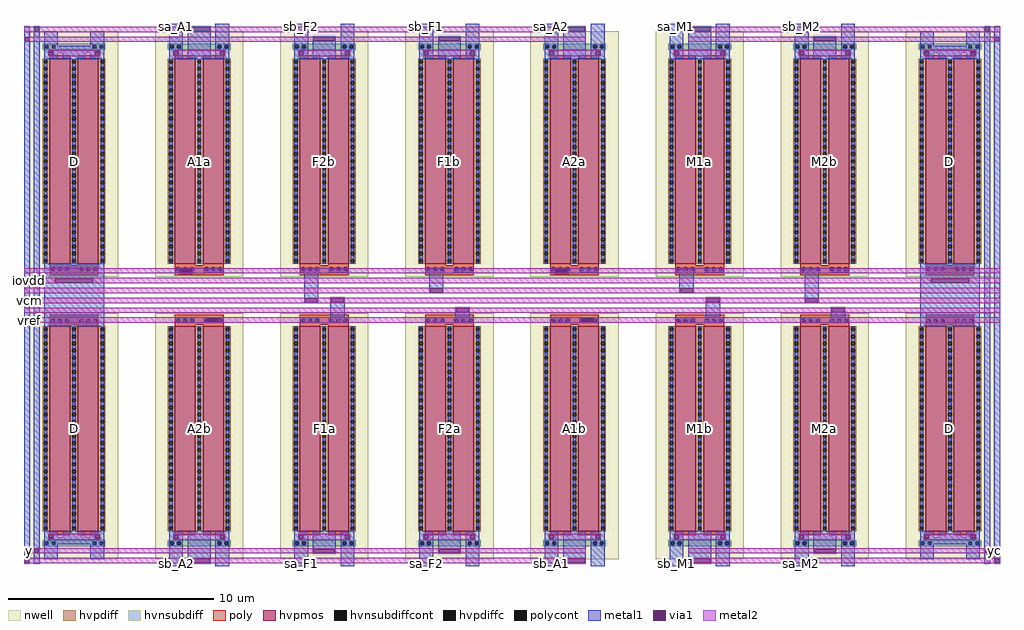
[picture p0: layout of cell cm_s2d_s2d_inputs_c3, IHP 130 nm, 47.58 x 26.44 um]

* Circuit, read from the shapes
.subckt cm_s2d_s2d_inputs_c3 sb_A2 sa_F1 sa_F2 sb_A1 sb_M1 sa_M2 sa_A1 sb_F2 sb_F1 sa_A2 sa_M1 sb_M2 iovdd vref vfbn vcm vfbp vin y x yc xc
XM1 iovdd iovdd iovdd iovdd sg13_hv_pmos w=10u l=1u m=8
XM2 x vref sb_A2 sb_A2 sg13_hv_pmos w=10u l=1u m=2
XM3 y vin sa_A1 sa_A1 sg13_hv_pmos w=10u l=1u m=2
XM4 y vcm sa_F1 sa_F1 sg13_hv_pmos w=10u l=1u m=2
XM5 x vcm sb_F2 sb_F2 sg13_hv_pmos w=10u l=1u m=2
XM6 y vfbn sa_F2 sa_F2 sg13_hv_pmos w=10u l=1u m=2
XM7 x vfbp sb_F1 sb_F1 sg13_hv_pmos w=10u l=1u m=2
XM8 x vref sb_A1 sb_A1 sg13_hv_pmos w=10u l=1u m=2
XM9 y vin sa_A2 sa_A2 sg13_hv_pmos w=10u l=1u m=2
XM10 xc vcm sb_M1 sb_M1 sg13_hv_pmos w=10u l=1u m=2
XM11 yc vfbp sa_M1 sa_M1 sg13_hv_pmos w=10u l=1u m=2
XM12 yc vfbn sa_M2 sa_M2 sg13_hv_pmos w=10u l=1u m=2
XM13 xc vcm sb_M2 sb_M2 sg13_hv_pmos w=10u l=1u m=2
.ends

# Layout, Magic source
magic
tech ihp-sg13cmos5l
magscale 1 2
<< metal1 >>
rect 0 5158 58 5263
rect 0 5118 9 5158
rect 49 5118 58 5158
rect 0 74 58 5118
rect 0 34 9 74
rect 49 34 58 74
rect 0 25 58 34
rect 94 5254 152 5263
rect 94 5214 103 5254
rect 143 5214 152 5254
rect 1416 5218 1550 5288
rect 1597 5254 1819 5263
rect 94 170 152 5214
rect 1597 5214 1606 5254
rect 1810 5214 1819 5254
rect 1866 5218 2000 5288
rect 2636 5218 2770 5288
rect 3086 5218 3220 5288
rect 3856 5218 3990 5288
rect 4306 5218 4440 5288
rect 5076 5218 5210 5288
rect 5257 5254 5479 5263
rect 1597 5072 1819 5214
rect 5257 5214 5266 5254
rect 5470 5214 5479 5254
rect 5526 5218 5660 5288
rect 6296 5218 6430 5288
rect 6477 5254 6699 5263
rect 2817 5158 3039 5167
rect 2817 5118 2826 5158
rect 3030 5118 3039 5158
rect 2817 5072 3039 5118
rect 4037 5158 4259 5167
rect 4037 5118 4046 5158
rect 4250 5118 4259 5158
rect 4037 5072 4259 5118
rect 5257 5072 5479 5214
rect 6477 5214 6486 5254
rect 6690 5214 6699 5254
rect 6746 5218 6880 5288
rect 7516 5218 7650 5288
rect 7966 5218 8100 5288
rect 9364 5254 9422 5263
rect 6477 5072 6699 5214
rect 9364 5214 9373 5254
rect 9413 5214 9422 5254
rect 7697 5158 7919 5167
rect 7697 5118 7706 5158
rect 7910 5118 7919 5158
rect 7697 5072 7919 5118
rect 196 5008 780 5072
rect 8736 5008 9320 5072
rect 196 2804 780 2948
rect 1510 2900 1650 2912
rect 1510 2860 1519 2900
rect 1641 2860 1650 2900
rect 1510 2851 1650 2860
rect 196 2764 304 2804
rect 672 2764 780 2804
rect 196 2340 780 2764
rect 2730 2612 2870 2912
rect 3950 2708 4090 2912
rect 5170 2900 5310 2912
rect 5170 2860 5179 2900
rect 5301 2860 5310 2900
rect 5170 2851 5310 2860
rect 3950 2668 3959 2708
rect 4081 2668 4090 2708
rect 3950 2659 4090 2668
rect 6390 2708 6530 2912
rect 6390 2668 6399 2708
rect 6521 2668 6530 2708
rect 6390 2659 6530 2668
rect 2730 2572 2739 2612
rect 2861 2572 2870 2612
rect 2730 2563 2870 2572
rect 2986 2612 3126 2621
rect 2986 2572 2995 2612
rect 3117 2572 3126 2612
rect 1766 2420 1906 2429
rect 1766 2380 1775 2420
rect 1897 2380 1906 2420
rect 1766 2376 1906 2380
rect 2986 2376 3126 2572
rect 6646 2612 6786 2621
rect 6646 2572 6655 2612
rect 6777 2572 6786 2612
rect 4206 2516 4346 2525
rect 4206 2476 4215 2516
rect 4337 2476 4346 2516
rect 4206 2376 4346 2476
rect 5426 2420 5566 2429
rect 5426 2380 5435 2420
rect 5557 2380 5566 2420
rect 5426 2376 5566 2380
rect 6646 2376 6786 2572
rect 7610 2612 7750 2912
rect 7610 2572 7619 2612
rect 7741 2572 7750 2612
rect 7610 2563 7750 2572
rect 8736 2804 9320 2948
rect 8736 2764 8844 2804
rect 9212 2764 9320 2804
rect 7866 2516 8006 2525
rect 7866 2476 7875 2516
rect 7997 2476 8006 2516
rect 7866 2376 8006 2476
rect 8736 2340 9320 2764
rect 196 216 780 280
rect 8736 216 9320 280
rect 94 130 103 170
rect 143 130 152 170
rect 94 25 152 130
rect 1597 74 1819 216
rect 2817 170 3039 216
rect 2817 130 2826 170
rect 3030 130 3039 170
rect 2817 121 3039 130
rect 4037 170 4259 216
rect 4037 130 4046 170
rect 4250 130 4259 170
rect 4037 121 4259 130
rect 1416 0 1550 70
rect 1597 34 1606 74
rect 1810 34 1819 74
rect 5257 74 5479 216
rect 1597 25 1819 34
rect 1866 0 2000 70
rect 2636 0 2770 70
rect 3086 0 3220 70
rect 3856 0 3990 70
rect 4306 0 4440 70
rect 5076 0 5210 70
rect 5257 34 5266 74
rect 5470 34 5479 74
rect 6477 74 6699 216
rect 7697 170 7919 216
rect 7697 130 7706 170
rect 7910 130 7919 170
rect 7697 121 7919 130
rect 9364 170 9422 5214
rect 9364 130 9373 170
rect 9413 130 9422 170
rect 5257 25 5479 34
rect 5526 0 5660 70
rect 6296 0 6430 70
rect 6477 34 6486 74
rect 6690 34 6699 74
rect 6477 25 6699 34
rect 6746 0 6880 70
rect 7516 0 7650 70
rect 7966 0 8100 70
rect 9364 25 9422 130
rect 9458 5158 9516 5263
rect 9458 5118 9467 5158
rect 9507 5118 9516 5158
rect 9458 74 9516 5118
rect 9458 34 9467 74
rect 9507 34 9516 74
rect 9458 25 9516 34
<< via1 >>
rect 9 5118 49 5158
rect 9 34 49 74
rect 103 5214 143 5254
rect 1606 5214 1810 5254
rect 5266 5214 5470 5254
rect 2826 5118 3030 5158
rect 4046 5118 4250 5158
rect 6486 5214 6690 5254
rect 9373 5214 9413 5254
rect 7706 5118 7910 5158
rect 1519 2860 1641 2900
rect 304 2764 672 2804
rect 5179 2860 5301 2900
rect 3959 2668 4081 2708
rect 6399 2668 6521 2708
rect 2739 2572 2861 2612
rect 2995 2572 3117 2612
rect 1775 2380 1897 2420
rect 6655 2572 6777 2612
rect 4215 2476 4337 2516
rect 5435 2380 5557 2420
rect 7619 2572 7741 2612
rect 8844 2764 9212 2804
rect 7875 2476 7997 2516
rect 103 130 143 170
rect 2826 130 3030 170
rect 4046 130 4250 170
rect 1606 34 1810 74
rect 5266 34 5470 74
rect 7706 130 7910 170
rect 9373 130 9413 170
rect 6486 34 6690 74
rect 9467 5118 9507 5158
rect 9467 34 9507 74
<< metal2 >>
rect 0 5254 5479 5260
rect 0 5214 103 5254
rect 143 5214 1606 5254
rect 1810 5214 5266 5254
rect 5470 5214 5479 5254
rect 0 5208 5479 5214
rect 6477 5254 9516 5260
rect 6477 5214 6486 5254
rect 6690 5214 9373 5254
rect 9413 5214 9516 5254
rect 6477 5208 9516 5214
rect 0 5158 5479 5164
rect 0 5118 9 5158
rect 49 5118 2826 5158
rect 3030 5118 4046 5158
rect 4250 5118 5479 5158
rect 0 5112 5479 5118
rect 6477 5158 9516 5164
rect 6477 5118 7706 5158
rect 7910 5118 9467 5158
rect 9507 5118 9516 5158
rect 6477 5112 9516 5118
rect 0 2900 9516 2906
rect 0 2860 1519 2900
rect 1641 2860 5179 2900
rect 5301 2860 9516 2900
rect 0 2854 9516 2860
rect 0 2804 9516 2810
rect 0 2764 304 2804
rect 672 2764 8844 2804
rect 9212 2764 9516 2804
rect 0 2758 9516 2764
rect 0 2708 9516 2714
rect 0 2668 3959 2708
rect 4081 2668 6399 2708
rect 6521 2668 9516 2708
rect 0 2662 9516 2668
rect 0 2612 9516 2618
rect 0 2572 2739 2612
rect 2861 2572 2995 2612
rect 3117 2572 6655 2612
rect 6777 2572 7619 2612
rect 7741 2572 9516 2612
rect 0 2566 9516 2572
rect 0 2516 9516 2522
rect 0 2476 4215 2516
rect 4337 2476 7875 2516
rect 7997 2476 9516 2516
rect 0 2470 9516 2476
rect 0 2420 9516 2426
rect 0 2380 1775 2420
rect 1897 2380 5435 2420
rect 5557 2380 9516 2420
rect 0 2374 9516 2380
rect 0 170 5479 176
rect 0 130 103 170
rect 143 130 2826 170
rect 3030 130 4046 170
rect 4250 130 5479 170
rect 0 124 5479 130
rect 6477 170 9516 176
rect 6477 130 7706 170
rect 7910 130 9373 170
rect 9413 130 9516 170
rect 6477 124 9516 130
rect 0 74 5479 80
rect 0 34 9 74
rect 49 34 1606 74
rect 1810 34 5266 74
rect 5470 34 5479 74
rect 0 28 5479 34
rect 6477 74 9516 80
rect 6477 34 6486 74
rect 6690 34 9467 74
rect 9507 34 9516 74
rect 6477 28 9516 34
use cm_s2d_tub_p20x1_c3  cm_s2d_tub_p20x1_c3_0
transform 1 0 8722 0 -1 4948
box -124 -270 736 2124
use cm_s2d_tub_p20x1_c3  cm_s2d_tub_p20x1_c3_1
transform 1 0 7502 0 -1 4948
box -124 -270 736 2124
use cm_s2d_tub_p20x1_c3  cm_s2d_tub_p20x1_c3_2
transform 1 0 6282 0 -1 4948
box -124 -270 736 2124
use cm_s2d_tub_p20x1_c3  cm_s2d_tub_p20x1_c3_3
transform 1 0 5062 0 -1 4948
box -124 -270 736 2124
use cm_s2d_tub_p20x1_c3  cm_s2d_tub_p20x1_c3_4
transform 1 0 3842 0 -1 4948
box -124 -270 736 2124
use cm_s2d_tub_p20x1_c3  cm_s2d_tub_p20x1_c3_5
transform 1 0 2622 0 -1 4948
box -124 -270 736 2124
use cm_s2d_tub_p20x1_c3  cm_s2d_tub_p20x1_c3_6
transform 1 0 1402 0 -1 4948
box -124 -270 736 2124
use cm_s2d_tub_p20x1_c3  cm_s2d_tub_p20x1_c3_7
transform 1 0 182 0 -1 4948
box -124 -270 736 2124
use cm_s2d_tub_p20x1_c3  cm_s2d_tub_p20x1_c3_8
transform 1 0 8722 0 1 340
box -124 -270 736 2124
use cm_s2d_tub_p20x1_c3  cm_s2d_tub_p20x1_c3_9
transform 1 0 7502 0 1 340
box -124 -270 736 2124
use cm_s2d_tub_p20x1_c3  cm_s2d_tub_p20x1_c3_10
transform 1 0 6282 0 1 340
box -124 -270 736 2124
use cm_s2d_tub_p20x1_c3  cm_s2d_tub_p20x1_c3_11
transform 1 0 5062 0 1 340
box -124 -270 736 2124
use cm_s2d_tub_p20x1_c3  cm_s2d_tub_p20x1_c3_12
transform 1 0 3842 0 1 340
box -124 -270 736 2124
use cm_s2d_tub_p20x1_c3  cm_s2d_tub_p20x1_c3_13
transform 1 0 2622 0 1 340
box -124 -270 736 2124
use cm_s2d_tub_p20x1_c3  cm_s2d_tub_p20x1_c3_14
transform 1 0 1402 0 1 340
box -124 -270 736 2124
use cm_s2d_tub_p20x1_c3  cm_s2d_tub_p20x1_c3_15
transform 1 0 182 0 1 340
box -124 -270 736 2124
<< labels >>
rlabel comment s 488 1340 488 1340 4 D
rlabel comment s 1708 1340 1708 1340 4 A2b
rlabel comment s 2928 1340 2928 1340 4 F1a
rlabel comment s 4148 1340 4148 1340 4 F2a
rlabel comment s 5368 1340 5368 1340 4 A1b
rlabel comment s 6588 1340 6588 1340 4 M1b
rlabel comment s 7808 1340 7808 1340 4 M2a
rlabel comment s 9028 1340 9028 1340 4 D
rlabel comment s 488 3948 488 3948 4 D
rlabel comment s 1708 3948 1708 3948 4 A1a
rlabel comment s 2928 3948 2928 3948 4 F2b
rlabel comment s 4148 3948 4148 3948 4 F1b
rlabel comment s 5368 3948 5368 3948 4 A2a
rlabel comment s 6588 3948 6588 3948 4 M1a
rlabel comment s 7808 3948 7808 3948 4 M2b
rlabel comment s 9028 3948 9028 3948 4 D
rlabel metal1 s 1416 0 1550 60 4 sb_A2
port 2 nsew
rlabel metal1 s 2636 0 2770 60 4 sa_F1
port 3 nsew
rlabel metal1 s 3856 0 3990 60 4 sa_F2
port 4 nsew
rlabel metal1 s 5076 0 5210 60 4 sb_A1
port 5 nsew
rlabel metal1 s 6296 0 6430 60 4 sb_M1
port 6 nsew
rlabel metal1 s 7516 0 7650 60 4 sa_M2
port 7 nsew
rlabel metal1 s 1416 5228 1550 5288 4 sa_A1
port 8 nsew
rlabel metal1 s 2636 5228 2770 5288 4 sb_F2
port 9 nsew
rlabel metal1 s 3856 5228 3990 5288 4 sb_F1
port 10 nsew
rlabel metal1 s 5076 5228 5210 5288 4 sa_A2
port 11 nsew
rlabel metal1 s 6296 5228 6430 5288 4 sa_M1
port 12 nsew
rlabel metal1 s 7516 5228 7650 5288 4 sb_M2
port 13 nsew
rlabel metal2 s 0 2758 100 2810 4 iovdd
port 15 nsew
rlabel metal2 s 0 2374 100 2426 4 vref
port 16 nsew
rlabel metal2 s 0 2470 100 2522 4 vfbn
port 17 nsew
rlabel metal2 s 0 2566 100 2618 4 vcm
port 18 nsew
rlabel metal2 s 0 2662 100 2714 4 vfbp
port 19 nsew
rlabel metal2 s 0 2854 100 2906 4 vin
port 20 nsew
rlabel metal2 s 0 124 100 176 4 y
port 21 nsew
rlabel metal2 s 0 28 100 80 4 x
port 22 nsew
rlabel metal2 s 9416 124 9516 176 4 yc
port 23 nsew
rlabel metal2 s 9416 28 9516 80 4 xc
port 24 nsew
<< properties >>
string GDS_END 378478
string GDS_FILE custom_io/gds/sg13cmos5l_IOPadSingle2Diff.uniq.gds
string GDS_START 365184
<< end >>

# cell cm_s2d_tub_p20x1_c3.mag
magic
tech ihp-sg13cmos5l
magscale 1 2
<< nwell >>
rect -124 -270 736 2124
<< hvnsubdiff >>
rect 0 -100 612 -86
rect 0 -132 24 -100
rect 56 -132 92 -100
rect 124 -132 488 -100
rect 520 -132 556 -100
rect 588 -132 612 -100
rect 0 -146 612 -132
<< hvnsubdiffcont >>
rect 24 -132 56 -100
rect 92 -132 124 -100
rect 488 -132 520 -100
rect 556 -132 588 -100
<< poly >>
rect 68 2068 544 2112
rect 68 2036 84 2068
rect 116 2036 152 2068
rect 184 2036 220 2068
rect 252 2036 360 2068
rect 392 2036 428 2068
rect 460 2036 496 2068
rect 528 2036 544 2068
rect 68 2014 544 2036
rect 68 2000 268 2014
rect 344 2000 544 2014
<< polycont >>
rect 84 2036 116 2068
rect 152 2036 184 2068
rect 220 2036 252 2068
rect 360 2036 392 2068
rect 428 2036 460 2068
rect 496 2036 528 2068
<< metal1 >>
rect 74 2068 262 2080
rect 74 2036 84 2068
rect 116 2036 152 2068
rect 184 2036 220 2068
rect 252 2036 262 2068
rect 350 2068 538 2080
rect 350 2036 360 2068
rect 392 2036 428 2068
rect 460 2036 496 2068
rect 528 2036 538 2068
rect 14 -33 148 0
rect 14 -73 61 -33
rect 101 -73 148 -33
rect 14 -100 148 -73
rect 14 -132 24 -100
rect 56 -132 92 -100
rect 124 -132 148 -100
rect 195 -124 417 0
rect 464 -33 598 0
rect 464 -73 511 -33
rect 551 -73 598 -33
rect 464 -100 598 -73
rect 14 -270 148 -132
rect 464 -132 488 -100
rect 520 -132 556 -100
rect 588 -132 598 -100
rect 464 -270 598 -132
<< via1 >>
rect 61 -73 101 -33
rect 511 -73 551 -33
<< metal2 >>
rect 52 -33 560 -24
rect 52 -73 61 -33
rect 101 -73 511 -33
rect 551 -73 560 -33
rect 52 -82 560 -73
use cm_s2d_pmosHV_w20_l1_ng2  cm_s2d_pmosHV_w20_l1_ng2_0
transform 1 0 0 0 1 0
box -124 -124 736 2124
<< labels >>
rlabel comment s 306 1000 306 1000 4 M
<< properties >>
string GDS_END 52212
string GDS_FILE custom_io/gds/sg13cmos5l_IOPadSingle2Diff.uniq.gds
string GDS_START 50586
<< end >>

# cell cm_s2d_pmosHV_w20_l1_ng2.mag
magic
tech ihp-sg13cmos5l
magscale 1 2
<< nwell >>
rect -124 -124 736 2124
<< hvpmos >>
rect 68 0 268 2000
rect 344 0 544 2000
<< hvpdiff >>
rect 0 1986 68 2000
rect 0 1954 14 1986
rect 46 1954 68 1986
rect 0 1916 68 1954
rect 0 1884 14 1916
rect 46 1884 68 1916
rect 0 1847 68 1884
rect 0 1815 14 1847
rect 46 1815 68 1847
rect 0 1778 68 1815
rect 0 1746 14 1778
rect 46 1746 68 1778
rect 0 1708 68 1746
rect 0 1676 14 1708
rect 46 1676 68 1708
rect 0 1639 68 1676
rect 0 1607 14 1639
rect 46 1607 68 1639
rect 0 1570 68 1607
rect 0 1538 14 1570
rect 46 1538 68 1570
rect 0 1501 68 1538
rect 0 1469 14 1501
rect 46 1469 68 1501
rect 0 1431 68 1469
rect 0 1399 14 1431
rect 46 1399 68 1431
rect 0 1362 68 1399
rect 0 1330 14 1362
rect 46 1330 68 1362
rect 0 1293 68 1330
rect 0 1261 14 1293
rect 46 1261 68 1293
rect 0 1223 68 1261
rect 0 1191 14 1223
rect 46 1191 68 1223
rect 0 1154 68 1191
rect 0 1122 14 1154
rect 46 1122 68 1154
rect 0 1085 68 1122
rect 0 1053 14 1085
rect 46 1053 68 1085
rect 0 1016 68 1053
rect 0 984 14 1016
rect 46 984 68 1016
rect 0 946 68 984
rect 0 914 14 946
rect 46 914 68 946
rect 0 877 68 914
rect 0 845 14 877
rect 46 845 68 877
rect 0 808 68 845
rect 0 776 14 808
rect 46 776 68 808
rect 0 738 68 776
rect 0 706 14 738
rect 46 706 68 738
rect 0 669 68 706
rect 0 637 14 669
rect 46 637 68 669
rect 0 600 68 637
rect 0 568 14 600
rect 46 568 68 600
rect 0 531 68 568
rect 0 499 14 531
rect 46 499 68 531
rect 0 461 68 499
rect 0 429 14 461
rect 46 429 68 461
rect 0 392 68 429
rect 0 360 14 392
rect 46 360 68 392
rect 0 323 68 360
rect 0 291 14 323
rect 46 291 68 323
rect 0 253 68 291
rect 0 221 14 253
rect 46 221 68 253
rect 0 184 68 221
rect 0 152 14 184
rect 46 152 68 184
rect 0 115 68 152
rect 0 83 14 115
rect 46 83 68 115
rect 0 46 68 83
rect 0 14 14 46
rect 46 14 68 46
rect 0 0 68 14
rect 268 1986 344 2000
rect 268 1954 290 1986
rect 322 1954 344 1986
rect 268 1916 344 1954
rect 268 1884 290 1916
rect 322 1884 344 1916
rect 268 1847 344 1884
rect 268 1815 290 1847
rect 322 1815 344 1847
rect 268 1778 344 1815
rect 268 1746 290 1778
rect 322 1746 344 1778
rect 268 1708 344 1746
rect 268 1676 290 1708
rect 322 1676 344 1708
rect 268 1639 344 1676
rect 268 1607 290 1639
rect 322 1607 344 1639
rect 268 1570 344 1607
rect 268 1538 290 1570
rect 322 1538 344 1570
rect 268 1501 344 1538
rect 268 1469 290 1501
rect 322 1469 344 1501
rect 268 1431 344 1469
rect 268 1399 290 1431
rect 322 1399 344 1431
rect 268 1362 344 1399
rect 268 1330 290 1362
rect 322 1330 344 1362
rect 268 1293 344 1330
rect 268 1261 290 1293
rect 322 1261 344 1293
rect 268 1223 344 1261
rect 268 1191 290 1223
rect 322 1191 344 1223
rect 268 1154 344 1191
rect 268 1122 290 1154
rect 322 1122 344 1154
rect 268 1085 344 1122
rect 268 1053 290 1085
rect 322 1053 344 1085
rect 268 1016 344 1053
rect 268 984 290 1016
rect 322 984 344 1016
rect 268 946 344 984
rect 268 914 290 946
rect 322 914 344 946
rect 268 877 344 914
rect 268 845 290 877
rect 322 845 344 877
rect 268 808 344 845
rect 268 776 290 808
rect 322 776 344 808
rect 268 738 344 776
rect 268 706 290 738
rect 322 706 344 738
rect 268 669 344 706
rect 268 637 290 669
rect 322 637 344 669
rect 268 600 344 637
rect 268 568 290 600
rect 322 568 344 600
rect 268 531 344 568
rect 268 499 290 531
rect 322 499 344 531
rect 268 461 344 499
rect 268 429 290 461
rect 322 429 344 461
rect 268 392 344 429
rect 268 360 290 392
rect 322 360 344 392
rect 268 323 344 360
rect 268 291 290 323
rect 322 291 344 323
rect 268 253 344 291
rect 268 221 290 253
rect 322 221 344 253
rect 268 184 344 221
rect 268 152 290 184
rect 322 152 344 184
rect 268 115 344 152
rect 268 83 290 115
rect 322 83 344 115
rect 268 46 344 83
rect 268 14 290 46
rect 322 14 344 46
rect 268 0 344 14
rect 544 1986 612 2000
rect 544 1954 566 1986
rect 598 1954 612 1986
rect 544 1916 612 1954
rect 544 1884 566 1916
rect 598 1884 612 1916
rect 544 1847 612 1884
rect 544 1815 566 1847
rect 598 1815 612 1847
rect 544 1778 612 1815
rect 544 1746 566 1778
rect 598 1746 612 1778
rect 544 1708 612 1746
rect 544 1676 566 1708
rect 598 1676 612 1708
rect 544 1639 612 1676
rect 544 1607 566 1639
rect 598 1607 612 1639
rect 544 1570 612 1607
rect 544 1538 566 1570
rect 598 1538 612 1570
rect 544 1501 612 1538
rect 544 1469 566 1501
rect 598 1469 612 1501
rect 544 1431 612 1469
rect 544 1399 566 1431
rect 598 1399 612 1431
rect 544 1362 612 1399
rect 544 1330 566 1362
rect 598 1330 612 1362
rect 544 1293 612 1330
rect 544 1261 566 1293
rect 598 1261 612 1293
rect 544 1223 612 1261
rect 544 1191 566 1223
rect 598 1191 612 1223
rect 544 1154 612 1191
rect 544 1122 566 1154
rect 598 1122 612 1154
rect 544 1085 612 1122
rect 544 1053 566 1085
rect 598 1053 612 1085
rect 544 1016 612 1053
rect 544 984 566 1016
rect 598 984 612 1016
rect 544 946 612 984
rect 544 914 566 946
rect 598 914 612 946
rect 544 877 612 914
rect 544 845 566 877
rect 598 845 612 877
rect 544 808 612 845
rect 544 776 566 808
rect 598 776 612 808
rect 544 738 612 776
rect 544 706 566 738
rect 598 706 612 738
rect 544 669 612 706
rect 544 637 566 669
rect 598 637 612 669
rect 544 600 612 637
rect 544 568 566 600
rect 598 568 612 600
rect 544 531 612 568
rect 544 499 566 531
rect 598 499 612 531
rect 544 461 612 499
rect 544 429 566 461
rect 598 429 612 461
rect 544 392 612 429
rect 544 360 566 392
rect 598 360 612 392
rect 544 323 612 360
rect 544 291 566 323
rect 598 291 612 323
rect 544 253 612 291
rect 544 221 566 253
rect 598 221 612 253
rect 544 184 612 221
rect 544 152 566 184
rect 598 152 612 184
rect 544 115 612 152
rect 544 83 566 115
rect 598 83 612 115
rect 544 46 612 83
rect 544 14 566 46
rect 598 14 612 46
rect 544 0 612 14
<< hvpdiffc >>
rect 14 1954 46 1986
rect 14 1884 46 1916
rect 14 1815 46 1847
rect 14 1746 46 1778
rect 14 1676 46 1708
rect 14 1607 46 1639
rect 14 1538 46 1570
rect 14 1469 46 1501
rect 14 1399 46 1431
rect 14 1330 46 1362
rect 14 1261 46 1293
rect 14 1191 46 1223
rect 14 1122 46 1154
rect 14 1053 46 1085
rect 14 984 46 1016
rect 14 914 46 946
rect 14 845 46 877
rect 14 776 46 808
rect 14 706 46 738
rect 14 637 46 669
rect 14 568 46 600
rect 14 499 46 531
rect 14 429 46 461
rect 14 360 46 392
rect 14 291 46 323
rect 14 221 46 253
rect 14 152 46 184
rect 14 83 46 115
rect 14 14 46 46
rect 290 1954 322 1986
rect 290 1884 322 1916
rect 290 1815 322 1847
rect 290 1746 322 1778
rect 290 1676 322 1708
rect 290 1607 322 1639
rect 290 1538 322 1570
rect 290 1469 322 1501
rect 290 1399 322 1431
rect 290 1330 322 1362
rect 290 1261 322 1293
rect 290 1191 322 1223
rect 290 1122 322 1154
rect 290 1053 322 1085
rect 290 984 322 1016
rect 290 914 322 946
rect 290 845 322 877
rect 290 776 322 808
rect 290 706 322 738
rect 290 637 322 669
rect 290 568 322 600
rect 290 499 322 531
rect 290 429 322 461
rect 290 360 322 392
rect 290 291 322 323
rect 290 221 322 253
rect 290 152 322 184
rect 290 83 322 115
rect 290 14 322 46
rect 566 1954 598 1986
rect 566 1884 598 1916
rect 566 1815 598 1847
rect 566 1746 598 1778
rect 566 1676 598 1708
rect 566 1607 598 1639
rect 566 1538 598 1570
rect 566 1469 598 1501
rect 566 1399 598 1431
rect 566 1330 598 1362
rect 566 1261 598 1293
rect 566 1191 598 1223
rect 566 1122 598 1154
rect 566 1053 598 1085
rect 566 984 598 1016
rect 566 914 598 946
rect 566 845 598 877
rect 566 776 598 808
rect 566 706 598 738
rect 566 637 598 669
rect 566 568 598 600
rect 566 499 598 531
rect 566 429 598 461
rect 566 360 598 392
rect 566 291 598 323
rect 566 221 598 253
rect 566 152 598 184
rect 566 83 598 115
rect 566 14 598 46
<< poly >>
rect 68 2000 268 2036
rect 344 2000 544 2036
rect 68 -36 268 0
rect 344 -36 544 0
<< metal1 >>
rect 14 1986 46 2000
rect 14 1916 46 1954
rect 14 1847 46 1884
rect 14 1778 46 1815
rect 14 1708 46 1746
rect 14 1639 46 1676
rect 14 1570 46 1607
rect 14 1501 46 1538
rect 14 1431 46 1469
rect 14 1362 46 1399
rect 14 1293 46 1330
rect 14 1223 46 1261
rect 14 1154 46 1191
rect 14 1085 46 1122
rect 14 1016 46 1053
rect 14 946 46 984
rect 14 877 46 914
rect 14 808 46 845
rect 14 738 46 776
rect 14 669 46 706
rect 14 600 46 637
rect 14 531 46 568
rect 14 461 46 499
rect 14 392 46 429
rect 14 323 46 360
rect 14 253 46 291
rect 14 184 46 221
rect 14 115 46 152
rect 14 46 46 83
rect 14 0 46 14
rect 290 1986 322 2000
rect 290 1916 322 1954
rect 290 1847 322 1884
rect 290 1778 322 1815
rect 290 1708 322 1746
rect 290 1639 322 1676
rect 290 1570 322 1607
rect 290 1501 322 1538
rect 290 1431 322 1469
rect 290 1362 322 1399
rect 290 1293 322 1330
rect 290 1223 322 1261
rect 290 1154 322 1191
rect 290 1085 322 1122
rect 290 1016 322 1053
rect 290 946 322 984
rect 290 877 322 914
rect 290 808 322 845
rect 290 738 322 776
rect 290 669 322 706
rect 290 600 322 637
rect 290 531 322 568
rect 290 461 322 499
rect 290 392 322 429
rect 290 323 322 360
rect 290 253 322 291
rect 290 184 322 221
rect 290 115 322 152
rect 290 46 322 83
rect 290 0 322 14
rect 566 1986 598 2000
rect 566 1916 598 1954
rect 566 1847 598 1884
rect 566 1778 598 1815
rect 566 1708 598 1746
rect 566 1639 598 1676
rect 566 1570 598 1607
rect 566 1501 598 1538
rect 566 1431 598 1469
rect 566 1362 598 1399
rect 566 1293 598 1330
rect 566 1223 598 1261
rect 566 1154 598 1191
rect 566 1085 598 1122
rect 566 1016 598 1053
rect 566 946 598 984
rect 566 877 598 914
rect 566 808 598 845
rect 566 738 598 776
rect 566 669 598 706
rect 566 600 598 637
rect 566 531 598 568
rect 566 461 598 499
rect 566 392 598 429
rect 566 323 598 360
rect 566 253 598 291
rect 566 184 598 221
rect 566 115 598 152
rect 566 46 598 83
rect 566 0 598 14
<< labels >>
flabel comment s 168 1000 168 1000 0 FreeSans 200 90 0 0 pmosHV
<< properties >>
string GDS_END 6984
string GDS_FILE custom_io/gds/sg13cmos5l_IOPadSingle2Diff.uniq.gds
string GDS_START 118
<< end >>
